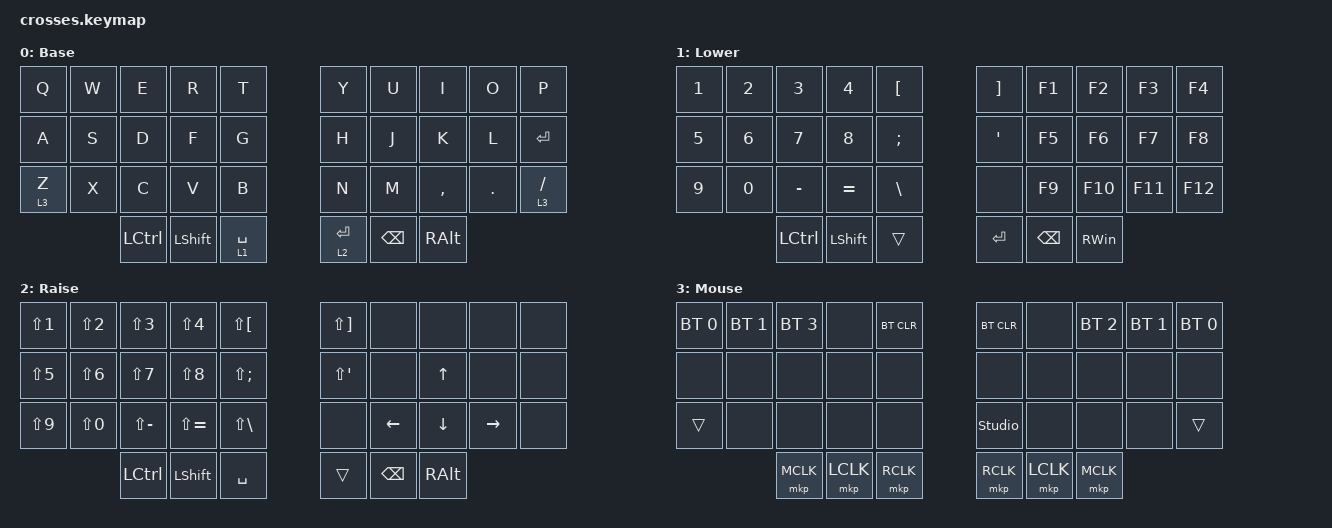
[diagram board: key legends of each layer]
#include <behaviors.dtsi>
#include <dt-bindings/zmk/bt.h>
#include <dt-bindings/zmk/keys.h>
#include <dt-bindings/zmk/pointing.h>

&lt {
    tapping-term-ms = <200>;
    flavor = "balanced";
    quick-tap-ms = <150>;
};

/ {
    behaviors {
        hm: my_homerow_mod {
            compatible = "zmk,behavior-hold-tap";
            label = "MY_HOMEROW_MOD";
            bindings = <&kp>, <&kp>;

            #binding-cells = <2>;
            tapping-term-ms = <220>;
            flavor = "tap-preferred";
        };
    };

    combos {
        compatible = "zmk,combos";

        esc_del {
            bindings = <&hm DEL ESC>;
            key-positions = <0 1>;
        };

        backspace {
            bindings = <&kp BACKSPACE>;
            key-positions = <9 8>;
        };

        slash_quet {
            bindings = <&kp SLASH>;
            key-positions = <29 28>;
        };

        win {
            bindings = <&kp LEFT_WIN>;
            key-positions = <21 22>;
        };

        lclk_left {
            bindings = <&mkp LCLK>;
            key-positions = <12 11>;
        };

        mclk_left {
            bindings = <&mkp MCLK>;
            key-positions = <14 15>;
        };

        rclk_left {
            bindings = <&mkp RCLK>;
            key-positions = <13 12>;
        };
    };

    keymap {
        compatible = "zmk,keymap";

        Base {
            bindings = <
&kp Q    &kp W  &kp E      &kp R           &kp T          &kp Y        &kp U          &kp I          &kp O    &kp P
&kp A    &kp S  &kp D      &kp F           &kp G          &kp H        &kp J          &kp K          &kp L    &kp ENTER
&lt 3 Z  &kp X  &kp C      &kp V           &kp B          &kp N        &kp M          &kp COMMA      &kp DOT  &lt 3 SLASH
                &kp LCTRL  &kp LEFT_SHIFT  &lt 1 SPACE    &lt 2 ENTER  &kp BACKSPACE  &kp RIGHT_ALT
            >;
        };

        Lower {
            bindings = <
&kp NUMBER_1  &kp NUMBER_2  &kp NUMBER_3  &kp NUMBER_4    &kp LEFT_BRACKET    &kp RIGHT_BRACKET  &kp F1         &kp F2         &kp F3   &kp F4
&kp NUMBER_5  &kp NUMBER_6  &kp NUMBER_7  &kp NUMBER_8    &kp SEMICOLON       &kp SQT            &kp F5         &kp F6         &kp F7   &kp F8
&kp NUMBER_9  &kp NUMBER_0  &kp MINUS     &kp EQUAL       &kp BACKSLASH       &none              &kp F9         &kp F10        &kp F11  &kp F12
                            &kp LCTRL     &kp LEFT_SHIFT  &trans              &kp ENTER          &kp BACKSPACE  &kp RIGHT_WIN
            >;
        };

        Raise {
            bindings = <
&kp LS(N1)  &kp LS(N2)  &kp LS(N3)     &kp LS(N4)      &kp LS(LEFT_BRACKET)    &kp LS(RIGHT_BRACKET)  &none           &none           &none            &none
&kp LS(N5)  &kp LS(N6)  &kp LS(N7)     &kp LS(N8)      &kp LS(SEMICOLON)       &kp LS(SQT)            &none           &kp UP_ARROW    &none            &none
&kp LS(N9)  &kp LS(N0)  &kp LS(MINUS)  &kp LS(EQUAL)   &kp LS(BACKSLASH)       &none                  &kp LEFT_ARROW  &kp DOWN_ARROW  &kp RIGHT_ARROW  &none
                        &kp LCTRL      &kp LEFT_SHIFT  &kp SPACE               &trans                 &kp BACKSPACE   &kp RIGHT_ALT
            >;
        };

        Mouse {
            bindings = <
&bt BT_SEL 0  &bt BT_SEL 1  &bt BT_SEL 3  &none      &bt BT_CLR    &bt BT_CLR      &none      &bt BT_SEL 2  &bt BT_SEL 1  &bt BT_SEL 0
&none         &none         &none         &none      &none         &none           &none      &none         &none         &none
&trans        &none         &none         &none      &none         &studio_unlock  &none      &none         &none         &trans
                            &mkp MCLK     &mkp LCLK  &mkp RCLK     &mkp RCLK       &mkp LCLK  &mkp MCLK
            >;
        };
    };
};
